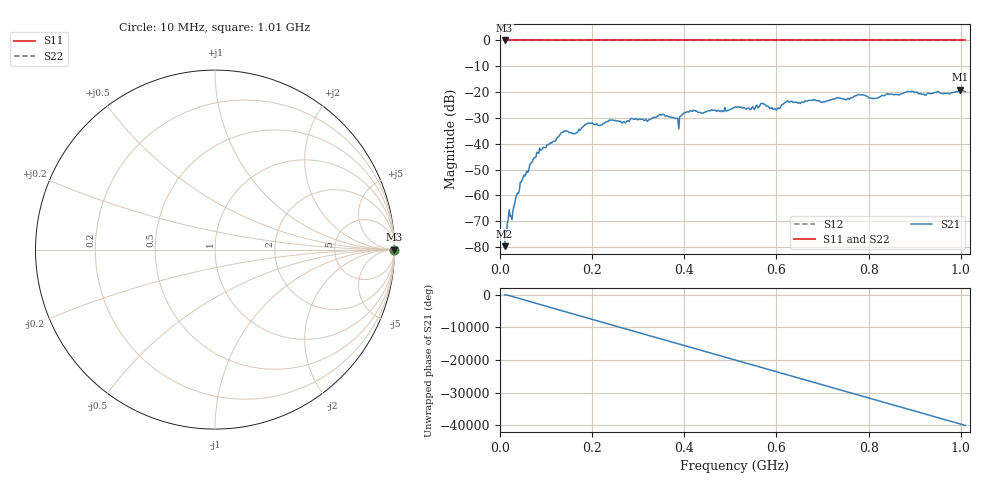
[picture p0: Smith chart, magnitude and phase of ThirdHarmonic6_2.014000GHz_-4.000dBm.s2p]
! 8/17/2025 12:10:48 AM
! C:\ANRITSUVNA\TEMP\TEMP.S2P
! CHANNEL.1
! TR.MEASUREMENT
! RAW.DATA
! RF.CORRECTION.OFF
! AVERAGING.OFF
! IF.BANDWIDTH: 5KHZ
! SWEEPTYPE:  FREQ.SWEEP(Linear)
! Reference Plane Port Info
! PORT:  PORT1  PORT2
! DISTANCE:  0  m  0  m
! TIME:  0  s  0  s
! PHASE.OFFSET:  0  deg.  0  deg.
! LOSS:  0  dB  0  dB
! REF.LOSS:  0  dB  0  dB
! REF.FREQ:  0  Hz  0  Hz
! Power Info
! POWER:  -20  dBm  -20  dBm
! EFF.POWER:  -20  dBm  -20  dBm
! SOURCE.ATTEN:  0  dB  0  dB
! TEST.ATTEN:  0  dB  0  dB
# GHZ S RI R 50.0
! FREQ.GHZ  S11RE  S11IM  S21RE  S21IM  S12RE  S12IM  S22RE  S22IM
!; PortSelection: Port_12
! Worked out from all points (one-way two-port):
!   501 points, 10 MHz to 1.01 GHz, reference 50 ohm
!   highest |S21| = -19.06 dB at 998 MHz (marker M1); lowest = -79.7 dB at 10 MHz (marker M2)
!   lowest |S11| = 0.0 dB at 10 MHz (marker M3)
!   |S11| at or under -10 dB: nowhere
!   |S22| runs from 0.0 to 0.0 dB; largest |S21 - S12| = 1.1
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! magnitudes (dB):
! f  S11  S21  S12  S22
! 10 MHz  0.0  -79.7  0.0  0.0
! 20 MHz  0.0  -65.5  0.0  0.0
! 28 MHz  0.0  -66.0  0.0  0.0
! 48 MHz  0.0  -53.9  0.0  0.0
! 84 MHz  0.0  -43.7  0.0  0.0
! 136 MHz  0.0  -35.7  0.0  0.0
! 162 MHz  0.0  -36.1  0.0  0.0
! 178 MHz  0.0  -33.6  0.0  0.0
! 194 MHz  0.0  -32.1  0.0  0.0
! 322 MHz  0.0  -30.9  0.0  0.0
! 344 MHz  0.0  -29.1  0.0  0.0
! 384 MHz  0.0  -30.2  0.0  0.0
! 410 MHz  0.0  -27.7  0.0  0.0
! 510 MHz  0.0  -25.8  0.0  0.0
! 548 MHz  0.0  -25.6  0.0  0.0
! 570 MHz  0.0  -24.4  0.0  0.0
! 596 MHz  0.0  -26.4  0.0  0.0
! 622 MHz  0.0  -23.7  0.0  0.0
! 678 MHz  0.0  -23.3  0.0  0.0
! 844 MHz  0.0  -20.9  0.0  0.0
! 998 MHz  0.0  -19.1  0.0  0.0
! 1.01 GHz  0.0  -19.9  0.0  0.0
